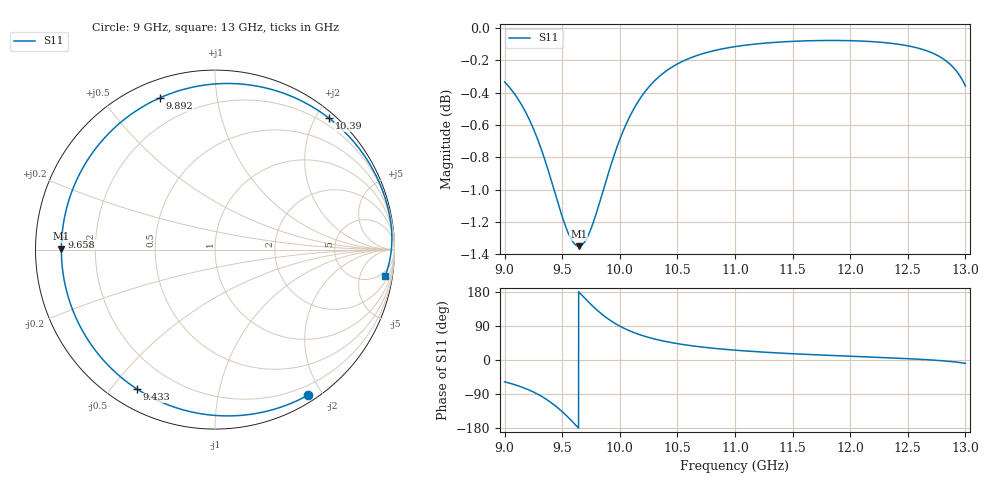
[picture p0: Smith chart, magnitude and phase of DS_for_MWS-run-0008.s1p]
! TOUCHSTONE file generated by CST DESIGN STUDIO
! Date and time: Tue Feb  4 18:23:12 2025
! Project name: C:\Work\MatlabApps\UnitCellOptimizationMatlab\CST\unitcell.cst
! Tree item: Tasks\Sweep1\SPara1\S-Parameters
! Header version: 2024
! Port assignment regex: !\s*Touchstone port\s*([0-9]+)\s*=\s*(CST MWS port|CST DES external port|CST DES block port)\s*(.+)\s* \(\"(.*)\"\)(\s*mode\s*([0-9]+))?.*
! Touchstone port assignment:
! Touchstone port 1 = CST DES external port 1 ("")
# GHz S MA R 50
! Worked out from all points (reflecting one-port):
!   4001 points, 9 GHz to 13 GHz, reference 50 ohm
!   lowest |S11| = -1.3 dB at 9.644 GHz (marker M1), VSWR 12.89, Z = 3.88 + j0.144 ohm
!   phase of S11 starts at -58 deg and turns -311 deg over the sweep
!   S11 on the Smith chart (normalised r, x): 9 GHz: 0.08, -1.82; 9.433 GHz: 0.08, -0.58; 9.658 GHz: 0.08, +0.04; 9.892 GHz: 0.08, +0.70; 10.39 GHz: 0.09, +2.19; 13 GHz: 3, -12
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9  0.9623 -57.6
9.138  0.948 -70.3
9.271  0.9269 -87.7
9.358  0.9084 -102.9
9.433  0.8903 -119.2
9.5  0.8743 -136.4
9.577  0.8604 -159.1
9.611  0.8571 -169.8
9.644  0.8561 179.7
9.658  0.8563 175.2
9.716  0.8612 156.8
9.781  0.873 137.6
9.836  0.8859 123.0
9.892  0.8996 109.9
9.943  0.9116 99.5
10  0.9237 89.4
10.088  0.9391 76.6
10.18  0.9514 66.1
10.281  0.9614 57.0
10.395  0.9694 49.0
10.5  0.9747 43.2
10.719  0.9819 34.0
11  0.9868 25.9
11.5  0.9905 16.6
12  0.991 9.9
12.5  0.9874 3.5
12.795  0.9789 -1.9
13  0.9596 -8.9
